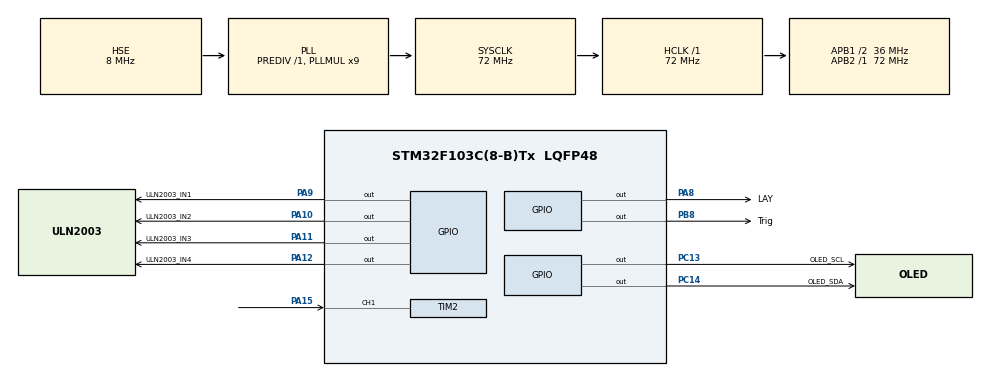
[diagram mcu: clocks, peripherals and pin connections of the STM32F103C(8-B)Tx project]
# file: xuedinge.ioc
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Mcu.Family=STM32F1
Mcu.Name=STM32F103C(8-B)Tx
Mcu.Package=LQFP48
NVIC.PriorityGroup=NVIC_PRIORITYGROUP_4
NVIC.TIM2_IRQn=true\:2\:0\:true\:false\:true\:true\:true\:true
PA10.GPIO_Label=ULN2003_IN2
PA10.GPIO_ModeDefaultOutputPP=GPIO_MODE_OUTPUT_PP
PA10.GPIO_PuPd=GPIO_PULLUP
PA10.GPIO_Speed=GPIO_SPEED_FREQ_HIGH
PA10.PinState=GPIO_PIN_SET
PA10.Signal=GPIO_Output
PA11.GPIO_Label=ULN2003_IN3
PA11.GPIO_ModeDefaultOutputPP=GPIO_MODE_OUTPUT_PP
PA11.GPIO_PuPd=GPIO_PULLUP
PA11.GPIO_Speed=GPIO_SPEED_FREQ_HIGH
PA11.PinState=GPIO_PIN_SET
PA11.Signal=GPIO_Output
PA12.GPIO_Label=ULN2003_IN4
PA12.GPIO_ModeDefaultOutputPP=GPIO_MODE_OUTPUT_PP
PA12.GPIO_PuPd=GPIO_PULLUP
PA12.GPIO_Speed=GPIO_SPEED_FREQ_HIGH
PA12.PinState=GPIO_PIN_SET
PA12.Signal=GPIO_Output
PA13.Mode=Serial_Wire
PA13.Signal=SYS_JTMS-SWDIO
PA14.Mode=Serial_Wire
PA14.Signal=SYS_JTCK-SWCLK
PA15.Signal=S_TIM2_CH1_ETR
PA8.GPIO_Label=LAY
PA8.GPIO_ModeDefaultOutputPP=GPIO_MODE_OUTPUT_PP
PA8.GPIO_PuPd=GPIO_PULLDOWN
PA8.GPIO_Speed=GPIO_SPEED_FREQ_HIGH
PA8.PinState=GPIO_PIN_SET
PA8.Signal=GPIO_Output
PA9.GPIO_Label=ULN2003_IN1
PA9.GPIO_ModeDefaultOutputPP=GPIO_MODE_OUTPUT_PP
PA9.GPIO_PuPd=GPIO_PULLUP
PA9.GPIO_Speed=GPIO_SPEED_FREQ_HIGH
PA9.PinState=GPIO_PIN_SET
PA9.Signal=GPIO_Output
PB8.GPIO_Label=Trig
PB8.GPIO_ModeDefaultOutputPP=GPIO_MODE_OUTPUT_PP
PB8.GPIO_PuPd=GPIO_PULLUP
PB8.GPIO_Speed=GPIO_SPEED_FREQ_HIGH
PB8.PinState=GPIO_PIN_SET
PB8.Signal=GPIO_Output
PC13-TAMPER-RTC.GPIO_Label=OLED_SCL
PC13-TAMPER-RTC.GPIO_ModeDefaultOutputPP=GPIO_MODE_OUTPUT_PP
PC13-TAMPER-RTC.GPIO_PuPd=GPIO_PULLUP
PC13-TAMPER-RTC.GPIO_Speed=GPIO_SPEED_FREQ_HIGH
PC13-TAMPER-RTC.PinState=GPIO_PIN_SET
PC13-TAMPER-RTC.Signal=GPIO_Output
PC14-OSC32_IN.GPIO_Label=OLED_SDA
PC14-OSC32_IN.GPIO_ModeDefaultOutputPP=GPIO_MODE_OUTPUT_PP
PC14-OSC32_IN.GPIO_PuPd=GPIO_PULLUP
PC14-OSC32_IN.GPIO_Speed=GPIO_SPEED_FREQ_HIGH
PC14-OSC32_IN.PinState=GPIO_PIN_SET
PC14-OSC32_IN.Signal=GPIO_Output
PD0-OSC_IN.Mode=HSE-External-Oscillator
PD0-OSC_IN.Signal=RCC_OSC_IN
PD1-OSC_OUT.Mode=HSE-External-Oscillator
PD1-OSC_OUT.Signal=RCC_OSC_OUT
ProjectManager.HeapSize=0x200
ProjectManager.StackSize=0x400
ProjectManager.TargetToolchain=MDK-ARM V5.32
RCC.AHBFreq_Value=72000000
RCC.APB1CLKDivider=RCC_HCLK_DIV2
RCC.APB1Freq_Value=36000000
RCC.APB1TimFreq_Value=72000000
RCC.APB2Freq_Value=72000000
RCC.APB2TimFreq_Value=72000000
RCC.HCLKFreq_Value=72000000
RCC.PLLMUL=RCC_PLL_MUL9
RCC.PLLSourceVirtual=RCC_PLLSOURCE_HSE
RCC.SYSCLKFreq_VALUE=72000000
RCC.SYSCLKSource=RCC_SYSCLKSOURCE_PLLCLK
RCC.USBFreq_Value=72000000
SH.S_TIM2_CH1_ETR.0=TIM2_CH1,Input_Capture1_from_TI1
TIM2.AutoReloadPreload=TIM_AUTORELOAD_PRELOAD_ENABLE
TIM2.Channel-Input_Capture1_from_TI1=TIM_CHANNEL_1
TIM2.Prescaler=71
board=custom

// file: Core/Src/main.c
/* USER CODE BEGIN Header */
/**
  ******************************************************************************
  * @file           : main.c
  * @brief          : Main program body
  ******************************************************************************
  * @attention
  *
  * Copyright (c) 2026 STMicroelectronics.
  * All rights reserved.
  *
  * This software is licensed under terms that can be found in the LICENSE file
  * in the root directory of this software component.
  * If no LICENSE file comes with this software, it is provided AS-IS.
  *
  ******************************************************************************
  */
/* USER CODE END Header */
#include "main.h"
#include "tim.h"
#include "gpio.h"

/* USER CODE BEGIN Includes */
#include "oled.h"
#include "tim.h"
#include "uln2003.h"
/* USER CODE END Includes */

void SystemClock_Config(void);

/* USER CODE BEGIN 0 */
void Delay_us(uint32_t us)
{
  uint32_t i;
  us *= 8;
  for(i = 0; i < us; i++)
  {
    __NOP();
  }
}

float HCSR04_Measure(void)
{
  uint32_t timeout = 0;
  uint32_t duration = 0;

  HAL_GPIO_WritePin(Trig_GPIO_Port, Trig_Pin, GPIO_PIN_RESET);
  Delay_us(2);
  HAL_GPIO_WritePin(Trig_GPIO_Port, Trig_Pin, GPIO_PIN_SET);
  Delay_us(10);
  HAL_GPIO_WritePin(Trig_GPIO_Port, Trig_Pin, GPIO_PIN_RESET);

  timeout = 10000;
  while (HAL_GPIO_ReadPin(GPIOA, GPIO_PIN_15) == GPIO_PIN_RESET)
  {
    timeout--;
    if (timeout == 0) return 0;
    Delay_us(1);
  }

  timeout = 10000;
  while (HAL_GPIO_ReadPin(GPIOA, GPIO_PIN_15) == GPIO_PIN_SET)
  {
    duration++;
    timeout--;
    if (timeout == 0) return 0;
    Delay_us(1);
  }

  return (float)duration * 0.017f;
}
/* USER CODE END 0 */

int main(void)
{

  /* MCU Configuration--------------------------------------------------------*/

  /* Reset of all peripherals, Initializes the Flash interface and the Systick. */
  HAL_Init();

  /* Configure the system clock */
  SystemClock_Config();

  /* Initialize all configured peripherals */
  MX_GPIO_Init();
  MX_TIM2_Init();
  /* USER CODE BEGIN 2 */
  OLED_Init();
  ULN2003_Init();
  HAL_GPIO_WritePin(LAY_GPIO_Port, LAY_Pin, GPIO_PIN_RESET);
  OLED_Clear();
  OLED_ShowString(0, 0, (uint8_t *)"Distance:", 8, 1);
  OLED_ShowString(0, 8, (uint8_t *)"---.-- cm", 8, 1);
  OLED_ShowString(0, 16, (uint8_t *)"Motor: Stop   ", 8, 1);
  OLED_ShowString(0, 24, (uint8_t *)"Pump: Off    ", 8, 1);
  OLED_Refresh();
  /* USER CODE END 2 */

  /* Infinite loop */
  /* USER CODE BEGIN WHILE */
  static float last_distance = -1;
  static int last_motor_state = -1;
  static int last_pump_state = -1;
  while (1)
  {
    /* USER CODE END WHILE */

    /* USER CODE BEGIN 3 */
    float distance = HCSR04_Measure();

    int current_motor_state = (distance > 0 && distance < 5.0f) ? 1 : 0;
    int current_pump_state = (distance > 0 && distance < 5.0f) ? 1 : 0;

    if (distance != last_distance || current_motor_state != last_motor_state || current_pump_state != last_pump_state)
    {
      last_distance = distance;
      last_motor_state = current_motor_state;
      last_pump_state = current_pump_state;

      OLED_ShowString(0, 0, (uint8_t *)"Distance:", 8, 1);

      if (distance > 0 && distance < 400)
      {
        uint16_t int_part = (uint16_t)distance;
        uint8_t dec_part = (uint8_t)((distance - int_part) * 10);

        OLED_ShowString(0, 8, (uint8_t *)"          ", 8, 1);

        OLED_ShowNum(0, 8, int_part, 3, 8, 1);
        OLED_ShowString(18, 8, (uint8_t *)".", 8, 1);
        OLED_ShowNum(24, 8, dec_part, 1, 8, 1);
        OLED_ShowString(30, 8, (uint8_t *)"cm", 8, 1);
      }
      else
      {
        OLED_ShowString(0, 8, (uint8_t *)"---.-- cm  ", 8, 1);
      }

      if (current_motor_state)
      {
        OLED_ShowString(0, 16, (uint8_t *)"Motor: Running", 8, 1);
      }
      else
      {
        OLED_ShowString(0, 16, (uint8_t *)"Motor: Stop   ", 8, 1);
      }

      if (current_pump_state)
      {
        OLED_ShowString(0, 24, (uint8_t *)"Pump: On     ", 8, 1);
      }
      else
      {
        OLED_ShowString(0, 24, (uint8_t *)"Pump: Off    ", 8, 1);
      }

      OLED_Refresh();
    }

    if (current_pump_state)
    {
      HAL_GPIO_WritePin(LAY_GPIO_Port, LAY_Pin, GPIO_PIN_SET);
    }
    else
    {
      HAL_GPIO_WritePin(LAY_GPIO_Port, LAY_Pin, GPIO_PIN_RESET);
    }

    ULN2003_Control_By_Distance(distance);
    HAL_Delay(50);
  }
  /* USER CODE END 3 */
}

void SystemClock_Config(void)
{
  RCC_OscInitTypeDef RCC_OscInitStruct = {0};
  RCC_ClkInitTypeDef RCC_ClkInitStruct = {0};

  /** Initializes the RCC Oscillators according to the specified parameters
  * in the RCC_OscInitTypeDef structure.
  */
  RCC_OscInitStruct.OscillatorType = RCC_OSCILLATORTYPE_HSE;
  RCC_OscInitStruct.HSEState = RCC_HSE_ON;
  RCC_OscInitStruct.HSEPredivValue = RCC_HSE_PREDIV_DIV1;
  RCC_OscInitStruct.HSIState = RCC_HSI_ON;
  RCC_OscInitStruct.PLL.PLLState = RCC_PLL_ON;
  RCC_OscInitStruct.PLL.PLLSource = RCC_PLLSOURCE_HSE;
  RCC_OscInitStruct.PLL.PLLMUL = RCC_PLL_MUL9;
  if (HAL_RCC_OscConfig(&RCC_OscInitStruct) != HAL_OK)
  {
    Error_Handler();
  }

  /** Initializes the CPU, AHB and APB buses clocks
  */
  RCC_ClkInitStruct.ClockType = RCC_CLOCKTYPE_HCLK|RCC_CLOCKTYPE_SYSCLK
                              |RCC_CLOCKTYPE_PCLK1|RCC_CLOCKTYPE_PCLK2;
  RCC_ClkInitStruct.SYSCLKSource = RCC_SYSCLKSOURCE_PLLCLK;
  RCC_ClkInitStruct.AHBCLKDivider = RCC_SYSCLK_DIV1;
  RCC_ClkInitStruct.APB1CLKDivider = RCC_HCLK_DIV2;
  RCC_ClkInitStruct.APB2CLKDivider = RCC_HCLK_DIV1;

  if (HAL_RCC_ClockConfig(&RCC_ClkInitStruct, FLASH_LATENCY_2) != HAL_OK)
  {
    Error_Handler();
  }
}

void Error_Handler(void)
{
  __disable_irq();
  while (1)
  {
  }
}
